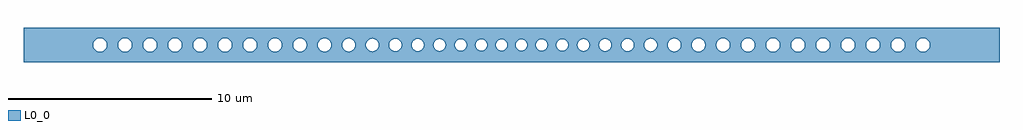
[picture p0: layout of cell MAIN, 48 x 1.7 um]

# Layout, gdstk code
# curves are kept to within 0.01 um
import gdstk
lib = gdstk.Library(unit=1e-6, precision=1e-09)
def P(c, l, *ps):  # polygons
    for p in ps: c.add(gdstk.Polygon(p, *l))
L0_0 = (0, 0)

main = lib.new_cell('MAIN')
P(main, L0_0, [(-20.263,-0.342),(-20.389,-0.308),(-20.489,-0.233),(-20.489,-0.85),(-20.263,-0.85)],
  [(-20.253,0.342),(-20.139,0.329),(-20.028,0.272),(-19.934,0.161),(-19.898,0.052),(-19.898,0.85),(-20.263,0.85)],
  [(-19.898,-0.052),(-19.934,-0.161),(-20.028,-0.272),(-20.139,-0.329),(-20.263,-0.342),(-20.263,-0.85),(-19.898,-0.85)],
  [(24,0.85),(20.489,0.85),(20.489,0.233),(20.555,0.128),(20.58,0.016),(20.563,-0.108),(20.489,-0.233),(20.489,-0.85),(24,-0.85)],
  [(-19.08,0.335),(-18.961,0.34),(-18.838,0.298),(-18.739,0.213),(-18.682,0.108),(-18.682,0.85),(-19.091,0.85),(-19.091,0.333)],
  [(-18.682,-0.108),(-18.749,-0.225),(-18.856,-0.308),(-18.961,-0.34),(-19.091,-0.333),(-19.091,-0.85),(-18.682,-0.85)],
  [(-19.351,0.005),(-19.332,0.113),(-19.28,0.209),(-19.196,0.287),(-19.091,0.333),(-19.091,0.85),(-19.898,0.85),(-19.894,0)],
  [(-17.901,0.32),(-17.789,0.343),(-17.666,0.324),(-17.557,0.262),(-17.473,0.156),(-17.473,0.85),(-17.911,0.85),(-17.911,0.316)],
  [(-17.473,-0.156),(-17.557,-0.262),(-17.666,-0.324),(-17.789,-0.343),(-17.911,-0.316),(-17.911,-0.85),(-17.473,-0.85)],
  [(-18.121,0.005),(-18.104,0.108),(-18.065,0.188),(-18,0.262),(-17.911,0.316),(-17.911,0.85),(-18.682,0.85),(-18.682,0.108),(-18.665,0)],
  [(-16.723,0.295),(-16.596,0.34),(-16.466,0.333),(-16.361,0.287),(-16.274,0.205),(-16.274,0.85),(-16.732,0.85)],
  [(-16.274,-0.205),(-16.379,-0.298),(-16.502,-0.34),(-16.632,-0.333),(-16.732,-0.29),(-16.732,-0.85),(-16.274,-0.85)],
  [(-16.892,0.005),(-16.882,0.083),(-16.847,0.17),(-16.797,0.237),(-16.732,0.29),(-16.732,0.85),(-17.473,0.85),(-17.473,0.156),(-17.443,0.073),(-17.436,0)],
  [(-15.537,0.265),(-15.432,0.324),(-15.309,0.343),(-15.168,0.308),(-15.079,0.244),(-15.079,0.85),(-15.545,0.85)],
  [(-15.079,-0.244),(-15.168,-0.308),(-15.309,-0.343),(-15.432,-0.324),(-15.545,-0.258),(-15.545,-0.85),(-15.079,-0.85)],
  [(-15.662,0.005),(-15.632,0.142),(-15.545,0.258),(-15.545,0.85),(-16.274,0.85),(-16.274,0.205),(-16.22,0.098),(-16.206,0)],
  [(-14.352,0.221),(-14.242,0.308),(-14.137,0.34),(-14.007,0.333),(-13.894,0.281),(-13.894,0.85),(-14.355,0.85)],
  [(-13.894,-0.281),(-14.007,-0.333),(-14.137,-0.34),(-14.26,-0.298),(-14.355,-0.217),(-14.355,-0.85),(-13.894,-0.85)],
  [(-14.433,0.005),(-14.414,0.113),(-14.355,0.217),(-14.355,0.85),(-15.079,0.85),(-15.079,0.244),(-15.001,0.128),(-14.977,0)],
  [(-13.153,0.179),(-13.07,0.272),(-12.959,0.329),(-12.835,0.342),(-12.709,0.308),(-12.709,0.85),(-13.156,0.85)],
  [(-12.709,-0.308),(-12.835,-0.342),(-12.959,-0.329),(-13.07,-0.272),(-13.156,-0.174),(-13.156,-0.85),(-12.709,-0.85)],
  [(-13.203,0.005),(-13.191,0.093),(-13.156,0.174),(-13.156,0.85),(-13.894,0.85),(-13.894,0.281),(-13.787,0.161),(-13.757,0.083),(-13.747,0)],
  [(-11.948,0.127),(-11.875,0.24),(-11.782,0.307),(-11.657,0.341),(-11.534,0.327),(-11.534,0.85),(-11.95,0.85)],
  [(-11.534,-0.327),(-11.657,-0.341),(-11.782,-0.307),(-11.896,-0.217),(-11.95,-0.122),(-11.95,-0.85),(-11.534,-0.85)],
  [(-11.973,0.005),(-11.95,0.122),(-11.95,0.85),(-12.709,0.85),(-12.709,0.308),(-12.616,0.241),(-12.568,0.179),(-12.529,0.088),(-12.518,0)],
  [(-10.737,0.077),(-10.687,0.191),(-10.591,0.284),(-10.497,0.327),(-10.358,0.335),(-10.358,0.85),(-10.738,0.85)],
  [(-10.358,-0.335),(-10.497,-0.327),(-10.591,-0.284),(-10.687,-0.191),(-10.738,-0.072),(-10.738,-0.85),(-10.358,-0.85)],
  [(-10.745,0.005),(-10.738,0.85),(-11.534,0.85),(-11.534,0.327),(-11.435,0.28),(-11.351,0.196),(-11.305,0.103),(-11.29,0)],
  [(-9.529,0.023),(-9.501,0.138),(-9.423,0.246),(-9.314,0.313),(-9.198,0.334),(-9.198,0.85),(-9.53,0.85)],
  [(-9.198,-0.334),(-9.314,-0.313),(-9.423,-0.246),(-9.501,-0.138),(-9.53,-0.018),(-9.53,-0.85),(-9.198,-0.85)],
  [(-8.863,0.85),(-9.198,0.85),(-9.198,0.334),(-9.081,0.314),(-8.968,0.244),(-8.895,0.145),(-8.863,0.021)],
  [(-8.863,-0.021),(-8.895,-0.145),(-8.968,-0.244),(-9.081,-0.314),(-9.198,-0.334),(-9.198,-0.85),(-8.863,-0.85)],
  [(-9.53,0.003),(-9.53,0.85),(-10.358,0.85),(-10.358,0.335),(-10.24,0.295),(-10.152,0.223),(-10.087,0.112),(-10.068,0)],
  [(-8.033,0.327),(-7.907,0.313),(-7.8,0.255),(-7.726,0.17),(-7.682,0.051),(-7.682,0.85),(-8.044,0.85),(-8.044,0.326)],
  [(-7.682,-0.051),(-7.726,-0.17),(-7.8,-0.255),(-7.917,-0.316),(-8.044,-0.326),(-8.044,-0.85),(-7.682,-0.85)],
  [(-8.335,0.003),(-8.317,0.108),(-8.256,0.214),(-8.165,0.288),(-8.044,0.326),(-8.044,0.85),(-8.863,0.85),(-8.862,0)],
  [(-6.9,0.317),(-6.764,0.312),(-6.659,0.264),(-6.572,0.173),(-6.531,0.075),(-6.531,0.85),(-6.91,0.85),(-6.91,0.315)],
  [(-6.531,-0.075),(-6.59,-0.198),(-6.676,-0.275),(-6.794,-0.318),(-6.91,-0.315),(-6.91,-0.85),(-6.531,-0.85)],
  [(-7.165,0.003),(-7.147,0.107),(-7.096,0.199),(-7.017,0.271),(-6.91,0.315),(-6.91,0.85),(-7.682,0.85),(-7.679,0)],
  [(-5.781,0.307),(-5.666,0.312),(-5.553,0.273),(-5.469,0.203),(-5.407,0.084),(-5.407,0.85),(-5.79,0.85)],
  [(-5.407,-0.084),(-5.469,-0.203),(-5.553,-0.273),(-5.666,-0.312),(-5.79,-0.304),(-5.79,-0.85),(-5.407,-0.85)],
  [(-6.024,0.002),(-6.003,0.115),(-5.949,0.205),(-5.869,0.272),(-5.79,0.304),(-5.79,0.85),(-6.531,0.85),(-6.522,0)],
  [(-4.687,0.297),(-4.565,0.305),(-4.453,0.266),(-4.377,0.204),(-4.313,0.088),(-4.313,0.85),(-4.697,0.85),(-4.697,0.294)],
  [(-4.313,-0.088),(-4.377,-0.204),(-4.462,-0.271),(-4.585,-0.307),(-4.697,-0.294),(-4.697,-0.85),(-4.313,-0.85)],
  [(-4.916,0.002),(-4.901,0.095),(-4.859,0.178),(-4.773,0.26),(-4.697,0.294),(-4.697,0.85),(-5.407,0.85),(-5.407,0.084),(-5.395,0)],
  [(-3.608,0.293),(-3.486,0.297),(-3.377,0.255),(-3.292,0.175),(-3.246,0.073),(-3.246,0.85),(-3.618,0.85),(-3.618,0.29)],
  [(-3.246,-0.073),(-3.292,-0.175),(-3.394,-0.265),(-3.501,-0.299),(-3.618,-0.29),(-3.618,-0.85),(-3.246,-0.85)],
  [(-3.839,0.005),(-3.826,0.087),(-3.783,0.175),(-3.71,0.247),(-3.618,0.29),(-3.618,0.85),(-4.313,0.85),(-4.313,0.088),(-4.3,0)],
  [(-2.556,0.289),(-2.445,0.291),(-2.346,0.254),(-2.26,0.176),(-2.208,0.058),(-2.208,0.85),(-2.566,0.85),(-2.566,0.287)],
  [(-2.208,-0.058),(-2.26,-0.176),(-2.346,-0.254),(-2.445,-0.291),(-2.566,-0.287),(-2.566,-0.85),(-2.208,-0.85)],
  [(-2.792,0.002),(-2.776,0.097),(-2.727,0.186),(-2.667,0.242),(-2.566,0.287),(-2.566,0.85),(-3.246,0.85),(-3.237,0)],
  [(-1.516,0.289),(-1.398,0.278),(-1.293,0.22),(-1.227,0.138),(-1.194,0.029),(-1.194,0.85),(-1.526,0.85),(-1.526,0.287)],
  [(-1.194,-0.029),(-1.232,-0.147),(-1.308,-0.232),(-1.412,-0.282),(-1.526,-0.287),(-1.526,-0.85),(-1.194,-0.85)],
  [(-1.773,0.005),(-1.753,0.108),(-1.697,0.197),(-1.617,0.258),(-1.526,0.287),(-1.526,0.85),(-2.208,0.85),(-2.202,0)],
  [(-0.497,0.287),(-0.385,0.268),(-0.292,0.209),(-0.221,0.103),(-0.202,0),(-0.202,0.85),(-0.506,0.85)],
  [(-0.202,0),(-0.221,-0.103),(-0.292,-0.209),(-0.385,-0.268),(-0.506,-0.287),(-0.506,-0.85),(-0.202,-0.85)],
  [(0.202,0.005),(0.221,0.103),(0.292,0.209),(0.385,0.268),(0.502,0.287),(0.502,0.85),(-0.202,0.85),(-0.202,0)],
  [(0.502,-0.287),(0.385,-0.268),(0.292,-0.209),(0.221,-0.103),(0.202,0),(-0.202,0),(-0.202,-0.85),(0.502,-0.85)],
  [(-0.777,0.005),(-0.755,0.112),(-0.704,0.192),(-0.617,0.258),(-0.506,0.287),(-0.506,0.85),(-1.194,0.85),(-1.192,0)],
  [(1.194,0.034),(1.232,0.147),(1.308,0.232),(1.412,0.282),(1.526,0.287),(1.526,0.85),(1.194,0.85)],
  [(1.526,-0.287),(1.412,-0.282),(1.308,-0.232),(1.232,-0.147),(1.194,-0.029),(1.194,-0.85),(1.526,-0.85)],
  [(1.192,0.005),(1.194,0.85),(0.502,0.85),(0.502,0.287),(0.617,0.258),(0.704,0.192),(0.755,0.112),(0.777,0)],
  [(2.207,0.055),(2.245,0.154),(2.328,0.242),(2.438,0.289),(2.558,0.289),(2.558,0.85),(2.206,0.85)],
  [(2.558,-0.289),(2.438,-0.289),(2.328,-0.242),(2.245,-0.154),(2.206,-0.051),(2.206,-0.85),(2.558,-0.85)],
  [(2.202,0.002),(2.206,0.85),(1.526,0.85),(1.526,0.287),(1.617,0.258),(1.697,0.197),(1.753,0.108),(1.773,0)],
  [(3.247,0.077),(3.292,0.175),(3.394,0.265),(3.501,0.299),(3.618,0.29),(3.618,0.85),(3.246,0.85)],
  [(3.618,-0.29),(3.501,-0.299),(3.394,-0.265),(3.292,-0.175),(3.246,-0.073),(3.246,-0.85),(3.618,-0.85)],
  [(3.237,0.005),(3.246,0.85),(2.558,0.85),(2.558,0.289),(2.648,0.254),(2.725,0.188),(2.777,0.095),(2.792,0)],
  [(4.312,0.085),(4.369,0.194),(4.451,0.265),(4.567,0.305),(4.69,0.296),(4.69,0.85),(4.311,0.85)],
  [(4.69,-0.296),(4.567,-0.305),(4.451,-0.265),(4.369,-0.194),(4.311,-0.081),(4.311,-0.85),(4.69,-0.85)],
  [(4.3,0.002),(4.311,0.85),(3.618,0.85),(3.618,0.29),(3.71,0.247),(3.783,0.175),(3.826,0.087),(3.839,0)],
  [(5.407,0.086),(5.464,0.197),(5.551,0.272),(5.654,0.31),(5.788,0.305),(5.788,0.85),(5.406,0.85)],
  [(5.788,-0.305),(5.654,-0.31),(5.551,-0.272),(5.464,-0.197),(5.406,-0.082),(5.406,-0.85),(5.788,-0.85)],
  [(5.395,0.002),(5.406,0.85),(4.69,0.85),(4.69,0.296),(4.771,0.261),(4.839,0.204),(4.897,0.106),(4.916,0)],
  [(6.53,0.073),(6.573,0.175),(6.665,0.268),(6.777,0.315),(6.903,0.316),(6.903,0.85),(6.529,0.85)],
  [(6.903,-0.316),(6.777,-0.315),(6.665,-0.268),(6.573,-0.175),(6.529,-0.068),(6.529,-0.85),(6.903,-0.85)],
  [(6.522,0.003),(6.529,0.85),(5.788,0.85),(5.788,0.305),(5.888,0.26),(5.954,0.199),(6.004,0.113),(6.024,0)],
  [(7.683,0.053),(7.722,0.164),(7.806,0.26),(7.924,0.318),(8.041,0.326),(8.041,0.85),(7.682,0.85)],
  [(8.041,-0.326),(7.924,-0.318),(7.806,-0.26),(7.722,-0.164),(7.682,-0.048),(7.682,-0.85),(8.041,-0.85)],
  [(7.679,0.003),(7.682,0.85),(6.903,0.85),(6.903,0.316),(7.011,0.275),(7.097,0.198),(7.151,0.095),(7.165,0)],
  [(8.863,0.018),(8.896,0.147),(8.97,0.246),(9.069,0.309),(9.19,0.334),(9.19,0.85),(8.863,0.85)],
  [(9.19,-0.334),(9.079,-0.313),(8.97,-0.246),(8.896,-0.147),(8.863,-0.013),(8.863,-0.85),(9.19,-0.85)],
  [(9.2,0.334),(9.311,0.314),(9.425,0.244),(9.5,0.14),(9.53,0.021),(9.53,0.85),(9.19,0.85)],
  [(9.53,-0.021),(9.5,-0.14),(9.425,-0.244),(9.311,-0.314),(9.19,-0.334),(9.19,-0.85),(9.53,-0.85)],
  [(8.862,0.003),(8.863,0.85),(8.041,0.85),(8.041,0.326),(8.163,0.289),(8.251,0.22),(8.316,0.11),(8.335,0)],
  [(10.368,0.336),(10.497,0.327),(10.604,0.275),(10.687,0.191),(10.738,0.072),(10.738,0.85),(10.358,0.85),(10.358,0.335)],
  [(10.738,-0.072),(10.687,-0.191),(10.591,-0.284),(10.497,-0.327),(10.358,-0.335),(10.358,-0.85),(10.738,-0.85)],
  [(10.068,0.005),(10.093,0.127),(10.166,0.239),(10.259,0.305),(10.358,0.335),(10.358,0.85),(9.53,0.85),(9.53,0)],
  [(11.539,0.329),(11.657,0.341),(11.782,0.307),(11.875,0.24),(11.948,0.127),(11.948,0.85),(11.529,0.85),(11.529,0.326)],
  [(11.948,-0.127),(11.875,-0.24),(11.782,-0.307),(11.657,-0.341),(11.529,-0.326),(11.529,-0.85),(11.948,-0.85)],
  [(11.29,0.005),(11.305,0.103),(11.351,0.196),(11.435,0.28),(11.529,0.326),(11.529,0.85),(10.738,0.85),(10.745,0)],
  [(12.719,0.312),(12.835,0.342),(12.959,0.329),(13.07,0.272),(13.156,0.174),(13.156,0.85),(12.709,0.85),(12.709,0.308)],
  [(13.156,-0.174),(13.07,-0.272),(12.959,-0.329),(12.835,-0.342),(12.709,-0.308),(12.709,-0.85),(13.156,-0.85)],
  [(12.518,0.005),(12.529,0.088),(12.568,0.179),(12.616,0.241),(12.709,0.308),(12.709,0.85),(11.948,0.85),(11.948,0.127),(11.973,0)],
  [(13.898,0.284),(14.007,0.333),(14.137,0.34),(14.242,0.308),(14.352,0.221),(14.352,0.85),(13.889,0.85)],
  [(14.352,-0.221),(14.242,-0.308),(14.137,-0.34),(14.007,-0.333),(13.889,-0.278),(13.889,-0.85),(14.352,-0.85)],
  [(13.747,0.005),(13.787,0.161),(13.889,0.278),(13.889,0.85),(13.156,0.85),(13.156,0.174),(13.191,0.093),(13.203,0)],
  [(15.083,0.248),(15.182,0.314),(15.309,0.343),(15.432,0.324),(15.545,0.258),(15.545,0.85),(15.079,0.85)],
  [(15.545,-0.258),(15.432,-0.324),(15.309,-0.343),(15.168,-0.308),(15.079,-0.244),(15.079,-0.85),(15.545,-0.85)],
  [(14.977,0.005),(15.001,0.128),(15.079,0.244),(15.079,0.85),(14.352,0.85),(14.352,0.221),(14.414,0.113),(14.433,0)],
  [(16.274,0.205),(16.361,0.287),(16.481,0.336),(16.596,0.34),(16.728,0.292),(16.728,0.85),(16.271,0.85)],
  [(16.728,-0.292),(16.596,-0.34),(16.481,-0.336),(16.361,-0.287),(16.271,-0.201),(16.271,-0.85),(16.728,-0.85)],
  [(16.206,0.005),(16.22,0.098),(16.271,0.201),(16.271,0.85),(15.545,0.85),(15.545,0.258),(15.632,0.142),(15.662,0)],
  [(17.476,0.161),(17.569,0.272),(17.68,0.329),(17.789,0.343),(17.911,0.316),(17.911,0.85),(17.473,0.85)],
  [(17.911,-0.316),(17.789,-0.343),(17.666,-0.324),(17.557,-0.262),(17.473,-0.156),(17.473,-0.85),(17.911,-0.85)],
  [(17.436,0.005),(17.473,0.156),(17.473,0.85),(16.728,0.85),(16.728,0.292),(16.797,0.237),(16.847,0.17),(16.882,0.083),(16.892,0)],
  [(18.682,0.108),(18.739,0.213),(18.838,0.298),(18.961,0.34),(19.086,0.334),(19.086,0.85),(18.681,0.85)],
  [(19.086,-0.334),(18.961,-0.34),(18.838,-0.298),(18.739,-0.213),(18.681,-0.103),(18.681,-0.85),(19.086,-0.85)],
  [(18.665,0.005),(18.681,0.103),(18.681,0.85),(17.911,0.85),(17.911,0.316),(18,0.262),(18.071,0.179),(18.11,0.088),(18.121,0)],
  [(19.899,0.057),(19.95,0.188),(20.028,0.272),(20.139,0.329),(20.263,0.342),(20.263,0.85),(19.898,0.85)],
  [(20.263,-0.342),(20.139,-0.329),(20.028,-0.272),(19.934,-0.161),(19.898,-0.052),(19.898,-0.85),(20.263,-0.85)],
  [(-20.489,-0.233),(-20.555,-0.128),(-20.58,-0.016),(-20.563,0.108),(-20.489,0.233),(-20.489,0.85),(-24,0.85),(-24,-0.85),(-20.489,-0.85)],
  [(-20.485,0.237),(-20.389,0.308),(-20.263,0.342),(-20.263,0.85),(-20.489,0.85)],
  [(20.489,0.85),(20.263,0.85),(20.263,0.342),(20.389,0.308),(20.489,0.233)],
  [(20.489,-0.233),(20.389,-0.308),(20.263,-0.342),(20.263,-0.85),(20.489,-0.85)],
  [(-19.091,-0.333),(-19.196,-0.287),(-19.28,-0.209),(-19.332,-0.113),(-19.351,0),(-19.894,0),(-19.898,-0.85),(-19.091,-0.85)],
  [(-17.911,-0.316),(-18,-0.262),(-18.071,-0.179),(-18.11,-0.088),(-18.121,0),(-18.665,0),(-18.682,-0.108),(-18.682,-0.85),(-17.911,-0.85)],
  [(-16.732,-0.29),(-16.797,-0.237),(-16.852,-0.161),(-16.882,-0.083),(-16.892,0),(-17.436,0),(-17.443,-0.073),(-17.473,-0.156),(-17.473,-0.85),(-16.732,-0.85)],
  [(-15.545,-0.258),(-15.632,-0.142),(-15.662,0),(-16.206,0),(-16.22,-0.098),(-16.274,-0.205),(-16.274,-0.85),(-15.545,-0.85)],
  [(-14.355,-0.217),(-14.414,-0.113),(-14.433,0),(-14.977,0),(-15.001,-0.128),(-15.079,-0.244),(-15.079,-0.85),(-14.355,-0.85)],
  [(-13.156,-0.174),(-13.191,-0.093),(-13.203,0),(-13.747,0),(-13.757,-0.083),(-13.787,-0.161),(-13.894,-0.281),(-13.894,-0.85),(-13.156,-0.85)],
  [(-11.95,-0.122),(-11.973,0),(-12.518,0),(-12.529,-0.088),(-12.568,-0.179),(-12.616,-0.241),(-12.709,-0.308),(-12.709,-0.85),(-11.95,-0.85)],
  [(-10.738,-0.072),(-10.745,0),(-11.29,0),(-11.305,-0.103),(-11.351,-0.196),(-11.435,-0.28),(-11.534,-0.327),(-11.534,-0.85),(-10.738,-0.85)],
  [(-9.53,-0.018),(-9.53,0),(-10.068,0),(-10.087,-0.112),(-10.152,-0.223),(-10.24,-0.295),(-10.358,-0.335),(-10.358,-0.85),(-9.53,-0.85)],
  [(-8.044,-0.326),(-8.165,-0.288),(-8.256,-0.214),(-8.317,-0.108),(-8.335,0),(-8.862,0),(-8.863,-0.85),(-8.044,-0.85)],
  [(-6.91,-0.315),(-7.017,-0.271),(-7.096,-0.199),(-7.147,-0.107),(-7.165,0),(-7.679,0),(-7.682,-0.85),(-6.91,-0.85)],
  [(-5.79,-0.304),(-5.869,-0.272),(-5.949,-0.205),(-6.003,-0.115),(-6.024,0),(-6.522,0),(-6.531,-0.85),(-5.79,-0.85)],
  [(-4.697,-0.294),(-4.773,-0.26),(-4.859,-0.178),(-4.901,-0.095),(-4.916,0),(-5.395,0),(-5.407,-0.084),(-5.407,-0.85),(-4.697,-0.85)],
  [(-3.618,-0.29),(-3.71,-0.247),(-3.783,-0.175),(-3.826,-0.087),(-3.839,0),(-4.3,0),(-4.313,-0.088),(-4.313,-0.85),(-3.618,-0.85)],
  [(-2.566,-0.287),(-2.667,-0.242),(-2.727,-0.186),(-2.776,-0.097),(-2.792,0),(-3.237,0),(-3.246,-0.85),(-2.566,-0.85)],
  [(-1.526,-0.287),(-1.617,-0.258),(-1.697,-0.197),(-1.753,-0.108),(-1.773,0),(-2.202,0),(-2.208,-0.85),(-1.526,-0.85)],
  [(-0.506,-0.287),(-0.617,-0.258),(-0.704,-0.192),(-0.755,-0.112),(-0.777,0),(-1.192,0),(-1.194,-0.85),(-0.506,-0.85)],
  [(1.194,-0.029),(1.192,0),(0.777,0),(0.755,-0.112),(0.704,-0.192),(0.617,-0.258),(0.502,-0.287),(0.502,-0.85),(1.194,-0.85)],
  [(2.206,-0.051),(2.202,0),(1.773,0),(1.753,-0.108),(1.697,-0.197),(1.617,-0.258),(1.526,-0.287),(1.526,-0.85),(2.206,-0.85)],
  [(3.246,-0.073),(3.237,0),(2.792,0),(2.777,-0.095),(2.725,-0.188),(2.648,-0.254),(2.558,-0.289),(2.558,-0.85),(3.246,-0.85)],
  [(4.311,-0.081),(4.3,0),(3.839,0),(3.826,-0.087),(3.783,-0.175),(3.71,-0.247),(3.618,-0.29),(3.618,-0.85),(4.311,-0.85)],
  [(5.406,-0.082),(5.395,0),(4.916,0),(4.897,-0.106),(4.839,-0.204),(4.771,-0.261),(4.69,-0.296),(4.69,-0.85),(5.406,-0.85)],
  [(6.529,-0.068),(6.522,0),(6.024,0),(6.004,-0.113),(5.954,-0.199),(5.888,-0.26),(5.788,-0.305),(5.788,-0.85),(6.529,-0.85)],
  [(7.682,-0.048),(7.679,0),(7.165,0),(7.151,-0.095),(7.097,-0.198),(7.011,-0.275),(6.903,-0.316),(6.903,-0.85),(7.682,-0.85)],
  [(8.863,-0.013),(8.862,0),(8.335,0),(8.316,-0.11),(8.251,-0.22),(8.163,-0.289),(8.041,-0.326),(8.041,-0.85),(8.863,-0.85)],
  [(10.358,-0.335),(10.24,-0.295),(10.152,-0.223),(10.087,-0.112),(10.068,0),(9.53,0),(9.53,-0.85),(10.358,-0.85)],
  [(11.529,-0.326),(11.435,-0.28),(11.351,-0.196),(11.305,-0.103),(11.29,0),(10.745,0),(10.738,-0.85),(11.529,-0.85)],
  [(12.709,-0.308),(12.616,-0.241),(12.568,-0.179),(12.529,-0.088),(12.518,0),(11.973,0),(11.948,-0.127),(11.948,-0.85),(12.709,-0.85)],
  [(13.889,-0.278),(13.787,-0.161),(13.757,-0.083),(13.747,0),(13.203,0),(13.191,-0.093),(13.156,-0.174),(13.156,-0.85),(13.889,-0.85)],
  [(15.079,-0.244),(15.001,-0.128),(14.977,0),(14.433,0),(14.414,-0.113),(14.352,-0.221),(14.352,-0.85),(15.079,-0.85)],
  [(16.271,-0.201),(16.22,-0.098),(16.206,0),(15.662,0),(15.632,-0.142),(15.545,-0.258),(15.545,-0.85),(16.271,-0.85)],
  [(17.473,-0.156),(17.443,-0.073),(17.436,0),(16.892,0),(16.882,-0.083),(16.847,-0.17),(16.797,-0.237),(16.728,-0.292),(16.728,-0.85),(17.473,-0.85)],
  [(18.681,-0.103),(18.665,0),(18.121,0),(18.11,-0.088),(18.071,-0.179),(18,-0.262),(17.911,-0.316),(17.911,-0.85),(18.681,-0.85)],
  [(19.898,-0.052),(19.894,0),(19.351,0),(19.332,-0.113),(19.28,-0.209),(19.196,-0.287),(19.086,-0.334),(19.086,-0.85),(19.898,-0.85)],
  [(19.895,0.005),(19.898,0.85),(19.086,0.85),(19.086,0.334),(19.196,0.287),(19.28,0.209),(19.332,0.113),(19.351,0)])

lib.write_gds('MAIN.gds')
